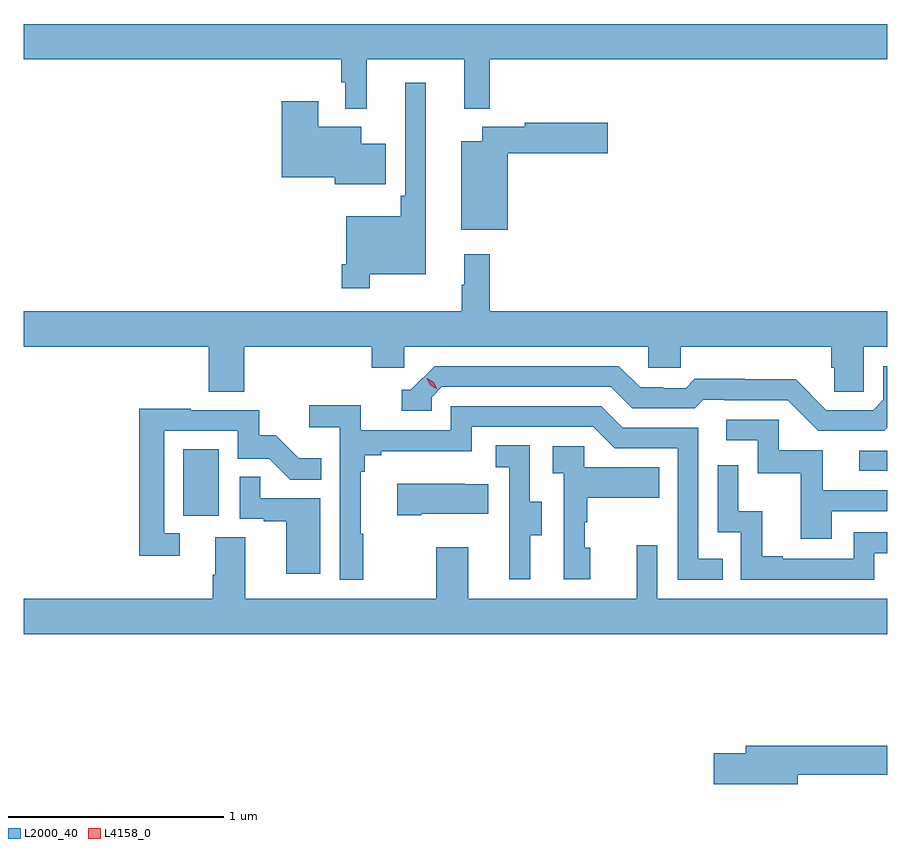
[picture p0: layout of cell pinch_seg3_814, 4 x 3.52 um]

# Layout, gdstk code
import gdstk
lib = gdstk.Library(unit=1e-6, precision=1e-09)
def R(c, l, rs):  # rectangles x0, y0, x1, y1
    for r in rs: c.add(gdstk.rectangle(r[:2], r[2:], *l))
def P(c, l, *ps):  # polygons
    for p in ps: c.add(gdstk.Polygon(p, *l))
L2000_40 = (2000, 40)
L4158_0 = (4158, 0)

pinch_seg3_814 = lib.new_cell('pinch_seg3_814')
R(pinch_seg3_814, L2000_40, [(849.302,721.446,849.466,721.753), (852.435,721.653,852.563,721.746)])
P(pinch_seg3_814, L2000_40, [(850.151,723.56),(850.604,723.56),(850.604,723.332),(850.721,723.332),(850.721,723.56),(852.563,723.56),(852.563,723.724),(848.563,723.724),(848.563,723.56),(850.033,723.56),(850.033,723.454),(850.053,723.454),(850.053,723.332),(850.151,723.332)],
  [(850.165,722.564),(850.426,722.564),(850.426,723.451),(850.329,723.451),(850.329,722.929),(850.309,722.929),(850.309,722.833),(850.056,722.833),(850.056,722.611),(850.036,722.611),(850.036,722.499),(850.165,722.499)],
  [(850.24,723.169),(850.126,723.169),(850.126,723.247),(849.928,723.247),(849.928,723.367),(849.758,723.367),(849.758,723.014),(850.004,723.014),(850.004,722.981),(850.24,722.981)],
  [(850.804,723.125),(851.269,723.125),(851.269,723.267),(850.884,723.267),(850.884,723.247),(850.688,723.247),(850.688,723.181),(850.589,723.181),(850.589,722.771),(850.804,722.771)],
  [(849.584,722.228),(850.175,722.228),(850.175,722.13),(850.326,722.13),(850.326,722.228),(851.457,722.228),(851.457,722.13),(851.607,722.13),(851.607,722.228),(852.305,722.228),(852.305,722.13),(852.319,722.13),(852.319,722.02),(852.456,722.02),(852.456,722.228),(852.563,722.228),(852.563,722.392),(850.721,722.392),(850.721,722.656),(850.604,722.656),(850.604,722.516),(850.593,722.516),(850.593,722.392),(848.563,722.392),(848.563,722.228),(849.419,722.228),(849.419,722.02),(849.584,722.02)],
  [(852.563,721.853),(852.563,722.139),(852.546,722.139),(852.546,721.983),(852.498,721.935),(852.282,721.935),(852.14,722.077),(851.904,722.077),(851.904,722.08),(851.671,722.08),(851.629,722.037),(851.526,722.037),(851.526,722.04),(851.419,722.04),(851.32,722.139),(850.467,722.139),(850.356,722.028),(850.313,722.028),(850.313,721.932),(850.452,721.932),(850.452,721.995),(850.5,722.043),(851.283,722.043),(851.382,721.944),(851.671,721.944),(851.71,721.983),(851.809,721.983),(851.809,721.98),(852.102,721.98),(852.243,721.839),(852.549,721.839)],
  [(850.135,721.361),(850.123,721.361),(850.123,721.649),(850.142,721.649),(850.142,721.726),(850.219,721.726),(850.219,721.745),(850.638,721.745),(850.638,721.857),(851.202,721.857),(851.301,721.758),(851.592,721.758),(851.592,721.149),(851.801,721.149),(851.801,721.245),(851.688,721.245),(851.688,721.854),(851.338,721.854),(851.239,721.953),(850.542,721.953),(850.542,721.842),(850.124,721.842),(850.124,721.958),(849.885,721.958),(849.885,721.856),(850.026,721.856),(850.026,721.149),(850.135,721.149)],
  [(849.286,721.365),(849.213,721.365),(849.213,721.839),(849.555,721.839),(849.555,721.71),(849.699,721.71),(849.797,721.612),(849.941,721.612),(849.941,721.711),(849.837,721.711),(849.73,721.818),(849.654,721.818),(849.654,721.935),(849.335,721.935),(849.335,721.94),(849.097,721.94),(849.097,721.26),(849.286,721.26)],
  [(852.307,721.467),(852.563,721.467),(852.563,721.563),(852.265,721.563),(852.265,721.749),(852.06,721.749),(852.06,721.89),(851.817,721.89),(851.817,721.794),(851.964,721.794),(851.964,721.641),(852.163,721.641),(852.163,721.338),(852.307,721.338)],
  [(850.909,721.354),(850.963,721.354),(850.963,721.509),(850.908,721.509),(850.908,721.772),(850.749,721.772),(850.749,721.669),(850.812,721.669),(850.812,721.365),(850.811,721.365),(850.811,721.152),(850.909,721.152)],
  [(851.188,721.296),(851.163,721.296),(851.163,721.415),(851.173,721.415),(851.173,721.529),(851.507,721.529),(851.507,721.669),(851.16,721.669),(851.16,721.767),(851.013,721.767),(851.013,721.643),(851.064,721.643),(851.064,721.152),(851.188,721.152)],
  [(852.504,721.272),(852.563,721.272),(852.563,721.368),(852.408,721.368),(852.408,721.245),(852.079,721.245),(852.079,721.258),(851.984,721.258),(851.984,721.466),(851.874,721.466),(851.874,721.678),(851.778,721.678),(851.778,721.368),(851.886,721.368),(851.886,721.149),(852.504,721.149)],
  [(849.937,721.527),(849.659,721.527),(849.659,721.625),(849.564,721.625),(849.564,721.431),(849.675,721.431),(849.675,721.419),(849.779,721.419),(849.779,721.176),(849.937,721.176)],
  [(850.405,721.454),(850.715,721.454),(850.715,721.591),(850.607,721.591),(850.607,721.594),(850.293,721.594),(850.293,721.447),(850.405,721.447)],
  [(852.563,721.06),(851.499,721.06),(851.499,721.309),(851.402,721.309),(851.402,721.06),(850.621,721.06),(850.621,721.3),(850.474,721.3),(850.474,721.06),(849.589,721.06),(849.589,721.346),(849.449,721.346),(849.449,721.172),(849.437,721.172),(849.437,721.06),(848.563,721.06),(848.563,720.896),(852.563,720.896)],
  [(852.148,720.244),(852.563,720.244),(852.563,720.38),(851.909,720.38),(851.909,720.344),(851.76,720.344),(851.76,720.202),(852.148,720.202)])
P(pinch_seg3_814, L4158_0, [(850.478,722.031),(850.447,722.05),(850.43,722.082),(850.43,722.082),(850.431,722.082),(850.462,722.064),(850.478,722.031),(850.478,722.031)])

lib.write_gds('pinch_seg3_814.gds')
